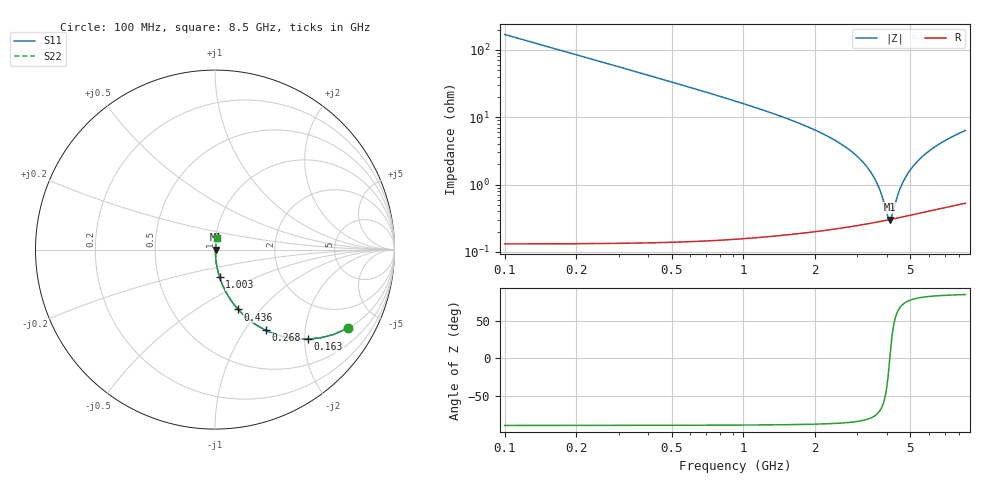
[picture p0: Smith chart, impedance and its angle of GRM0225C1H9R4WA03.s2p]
!Murata Part Number: GRM0225C1H9R4WA03
!These Parameters are Measured in Series Mode Connection
!Data Generated on Mar 30, 2021
!  o--ll--o
!Port1  Port2
!  o------o
!Operation Temp=25[degC], DC Bias Voltage=0[V]
!Freq. Start=100[MHz] Stop=9[GHz] 401[Steps]
# Hz S RI R 50
!Freq.(Hz) S11(Real) S11(Imag) S21(Real) S21(Imag) S12(Real) S12(Imag) S22(Real) S22(Imag)
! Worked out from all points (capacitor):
!   401 points, 100 MHz to 8.5 GHz, reference 50 ohm
!   read as one part in series: C = 9.4 pF near 142 MHz
!   lowest |Z| = 302 mohm at 4.09 GHz (marker M1)
!   series resonance near 4.101 GHz, so ESL is about 160 pH
!   S11 on the Smith chart (normalised r, x): 100 MHz: 1.00, -3.38; 163 MHz: 1.00, -2.07; 268 MHz: 1.00, -1.26; 436 MHz: 1.00, -0.77; 1.003 GHz: 1.00, -0.32; 8.5 GHz: 1.01, +0.13
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1e8  0.741 -0.4377  0.259 0.4377  0.259 0.4377  0.741 -0.4377
1.63e8  0.5181 -0.499  0.4819 0.499  0.4819 0.499  0.5181 -0.499
2.68e8  0.2839 -0.4498  0.7161 0.4498  0.7161 0.4498  0.2839 -0.4498
3.52e8  0.1862 -0.3879  0.8138 0.3879  0.8138 0.3879  0.1862 -0.3879
4.36e8  0.1293 -0.3337  0.8707 0.3337  0.8707 0.3337  0.1293 -0.3337
6.46e8  0.0624 -0.2391  0.9376 0.2391  0.9376 0.2391  0.0624 -0.2391
1.003e9  0.0259 -0.154  0.9741 0.154  0.9741 0.154  0.0259 -0.154
1.507e9  0.011 -0.0956  0.989 0.0956  0.989 0.0956  0.011 -0.0956
2.914e9  0.00322 -0.0283  0.9968 0.0283  0.9968 0.0283  0.00322 -0.0283
3.271e9  0.00293 -0.0185  0.9971 0.0185  0.9971 0.0185  0.00293 -0.0185
3.565e9  0.00287 -0.0114  0.9971 0.0114  0.9971 0.0114  0.00287 -0.0114
3.775e9  0.00289 -0.00672  0.9971 0.00672  0.9971 0.00672  0.00289 -0.00672
4.027e9  0.00298 -0.00147  0.997 0.00147  0.997 0.00147  0.00298 -0.00147
4.09e9  0.00301 -0.000215  0.997 0.000215  0.997 0.000215  0.00301 -0.000215
4.174e9  0.00305 0.00143  0.9969 -0.00143  0.9969 -0.00143  0.00305 0.00143
4.3e9  0.00313 0.00383  0.9969 -0.00383  0.9969 -0.00383  0.00313 0.00383
4.531e9  0.00331 0.00806  0.9967 -0.00806  0.9967 -0.00806  0.00331 0.00806
4.825e9  0.00357 0.0132  0.9964 -0.0132  0.9964 -0.0132  0.00357 0.0132
5.203e9  0.00398 0.0193  0.996 -0.0193  0.996 -0.0193  0.00398 0.0193
5.707e9  0.0046 0.0269  0.9954 -0.0269  0.9954 -0.0269  0.0046 0.0269
7.114e9  0.00673 0.0459  0.9933 -0.0459  0.9933 -0.0459  0.00673 0.0459
8.5e9  0.0092 0.0625  0.9908 -0.0625  0.9908 -0.0625  0.0092 0.0625
